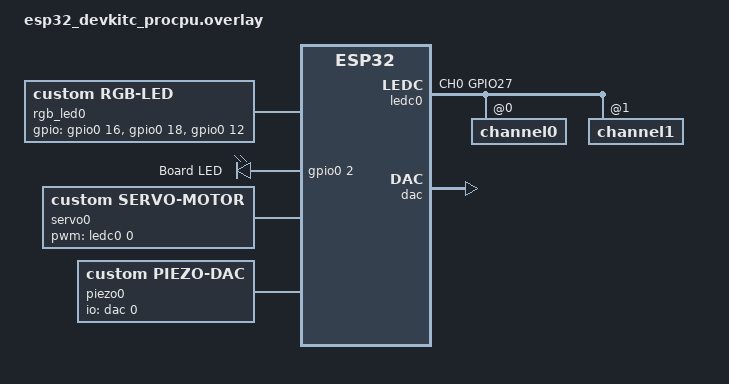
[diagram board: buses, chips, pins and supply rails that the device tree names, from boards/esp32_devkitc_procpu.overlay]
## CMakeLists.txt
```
cmake_minimum_required(VERSION 3.20.0)

list(APPEND ZEPHYR_EXTRA_MODULES ${CMAKE_CURRENT_SOURCE_DIR}/modules/custom_rgb)
list(APPEND ZEPHYR_EXTRA_MODULES ${CMAKE_CURRENT_SOURCE_DIR}/modules/servo_motor)
list(APPEND ZEPHYR_EXTRA_MODULES ${CMAKE_CURRENT_SOURCE_DIR}/modules/custom_piezo)
list(APPEND ZEPHYR_EXTRA_MODULES ${CMAKE_CURRENT_SOURCE_DIR}/modules/custom_usart)

find_package(Zephyr REQUIRED HINTS $ENV{ZEPHYR_BASE})
project(my_app)

target_sources(app PRIVATE
    src/main.c
    src/system_zero.c
    src/system_one.c
    src/system_two.c
    src/system_three.c
    src/system_four.c
    src/parser.c
)
```

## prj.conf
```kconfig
CONFIG_GPIO=y
# Custom servo driver
CONFIG_SERVO_MOTOR=y
CONFIG_CUSTOM_PIEZO=y
CONFIG_CUSTOM_USART=y
# Espressif PWM Driver
CONFIG_CONSOLE_SUBSYS=y
CONFIG_CONSOLE_GETLINE=y
```

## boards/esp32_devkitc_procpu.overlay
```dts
/ {
    aliases {
        led0 = &blink_led;
        system-piezo = &piezo0; 
    };

    /* Instantiate custom RGB Drivers */
    rgb_led0: rgb-led-0 {
        compatible = "custom,rgb-led";
        gpios = <&gpio0 16 GPIO_ACTIVE_HIGH>,  /* Red LED Pin */
                <&gpio0 18 GPIO_ACTIVE_HIGH>,  /* Green LED Pin */
                <&gpio0 12 GPIO_ACTIVE_HIGH>;  /* Blue LED Pin */
    };

    leds {
        compatible = "gpio-leds";
        blink_led: led_0 {
            gpios = <&gpio0 2 GPIO_ACTIVE_HIGH>;
            label = "Board LED";
        };
    };

    /* Instantiate custom servo drivers */
    servo0: servo_motor {
        compatible = "custom,servo-motor";
        pwms = <&ledc0 0 PWM_HZ(50) PWM_POLARITY_NORMAL>;
        min-pulse-us = <500>;
        max-pulse-us = <2500>;
        status = "okay";
    };

    piezo0: piezo {
        compatible = "custom,piezo-dac";
        status = "okay";
        io-channels = <&dac 0>;
    };

    usart0: system-four-usart {
        compatible = "custom,usart";
        status = "okay";
        uart = <&uart0>;
    };
};

/* Enable ESP32 hardware controller ledc0 */
&ledc0 {        
    pinctrl-0 = <&ledc0_default>;
    pinctrl-names = "default"; 
    status = "okay"; 
    #address-cells = <1>;
    #size-cells = <0>;

    channel0@0 {
        reg = <0>;
        timer = <0>;
    };

    channel1@1 {
        reg = <1>;
        timer = <1>;
    };
};

/* Pin control mapping (Assign GPIO pin for servo PWM output) */
&pinctrl {
    ledc0_default: ledc0_default {
        group1 {
            pinmux = <LEDC_CH0_GPIO27>;
        };
    };
};

/* Enable ESP32 DAC channel 0 on GPIO25 for the piezo output. */
&dac {
    status = "okay";
};
```

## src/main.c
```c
#include <zephyr/kernel.h>
#include <zephyr/drivers/gpio.h>
#include "app_queues.h"
#include "parser.h"
#include "system_zero.h"
#include "system_one.h"
#include "system_two.h"
#include "system_three.h"
#include "system_four.h"

#define STACK_SIZE 1024
#define THREAD_PRIORITY 7

#define SERIAL_QUEUE_DEPTH 8

K_MSGQ_DEFINE(rgb_msgq, sizeof(struct rgb_cmd), 10, 4);
K_MSGQ_DEFINE(servo_msgq, sizeof(struct servo_cmd), 10, 4);
K_MSGQ_DEFINE(piezo_msgq, sizeof(struct piezo_cmd), 10, 4);
K_MSGQ_DEFINE(serial_msgq, sizeof(struct serial_msg), SERIAL_QUEUE_DEPTH, 4);

K_THREAD_DEFINE(parser_tid, STACK_SIZE, parser_thread_entry, NULL, NULL, NULL, THREAD_PRIORITY, 0, 0);
K_THREAD_DEFINE(sys0_tid, STACK_SIZE, system_zero_entry, NULL, NULL, NULL, THREAD_PRIORITY, 0, 0);
K_THREAD_DEFINE(sys1_tid, STACK_SIZE, system_one_entry, NULL, NULL, NULL, THREAD_PRIORITY, 0, 0);
K_THREAD_DEFINE(sys2_tid, STACK_SIZE, system_two_entry, NULL, NULL, NULL, THREAD_PRIORITY, 0, 0);
K_THREAD_DEFINE(sys3_tid, STACK_SIZE, system_three_entry, NULL, NULL, NULL, THREAD_PRIORITY, 0, 0);
K_THREAD_DEFINE(sys4_tid, STACK_SIZE, system_four_entry, NULL, NULL, NULL, THREAD_PRIORITY, 0, 0);

int main(void){
    printk("\n========================\n");
    printk("System startup complete.\n"); 
    printk("========================\n");
    return 0;
}
```

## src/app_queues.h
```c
#ifndef APP_QUEUES_H_
#define APP_QUEUES_H_

#include <zephyr/kernel.h>

struct rgb_cmd {
    uint8_t red;
    uint8_t green;
    uint8_t blue;
};

struct servo_cmd {
    uint16_t angle;
};

struct piezo_cmd {
    uint32_t duration_seconds;
};

#define SERIAL_MESSAGE_SIZE 128

struct serial_msg {
    char data[SERIAL_MESSAGE_SIZE];
};

extern struct k_msgq serial_msgq;
extern struct k_msgq rgb_msgq;
extern struct k_msgq servo_msgq;
extern struct k_msgq piezo_msgq;

#endif /* APP_QUEUES_H_ */
```

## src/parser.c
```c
#include <zephyr/kernel.h>
#include <zephyr/sys/printk.h>
#include <stdlib.h>
#include <string.h>
#include <ctype.h>
#include <errno.h>
#include "app_queues.h"
#include "parser.h"

static void trim_trailing(char* str){
    size_t len = strlen(str);
    while (len > 0 && (str[len - 1] == '\r' || str[len - 1] == '\n' || isspace((unsigned char)str[len - 1]))) {
        str[--len] = '\0';
    }
}

void parser_thread_entry(void *p1, void *p2, void *p3){
    ARG_UNUSED(p1);
    ARG_UNUSED(p2);
    ARG_UNUSED(p3);

    printk("[Parser] Parser thread started.\n");

    while(1){
        struct serial_msg message;
        if (k_msgq_get(&serial_msgq, &message, K_FOREVER) != 0) {
            continue;
        }

        char *line = message.data;

        trim_trailing(line);

        if(line[0] == '#' || strlen(line) == 6){    // #XXYYZZ or XXYYZZ format
            char *hex_str = (line[0] == '#') ? line + 1 : line; // skip # if its there

            if(strlen(hex_str) != 6){
                printk("[Parser] Invalid RGB command length: %s\n", line);
                continue;
            }

            unsigned int r, g, b; 
            if(sscanf(hex_str, "%02x%02x%02x", &r, &g, &b) == 3){
                struct rgb_cmd cmd = {
                    .red   =  (uint8_t ) r, 
                    .green =  (uint8_t ) g,
                    .blue  =  (uint8_t ) b
                };

                if(k_msgq_put(&rgb_msgq, &cmd, K_NO_WAIT) != 0){
                    printk("[Parser] Warning: RGB Queue full, dropping command \n"); 
                }
                else{
                    printk("[Parser] RGB command queued: R=%02X G=%02X B=%02X\n", cmd.red, cmd.green, cmd.blue);
                }
            }
            else{
                printk("[Parser] Invalid RGB command format: %s\n", line);
            }
        }
        else{
            char *end;
            errno = 0;
            long angle = strtol(line, &end, 10);

            if (line[0] != '\0' && errno == 0 && angle > 0 &&
                *end == 's' && end[1] == '\0') {
                struct piezo_cmd cmd = {
                    .duration_seconds = (uint32_t)angle
                };

                if (k_msgq_put(&piezo_msgq, &cmd, K_NO_WAIT) != 0) {
                    printk("[Parser] Warning: Piezo queue full, dropping command\n");
                } else {
                    printk("[Parser] Piezo command queued: duration=%u seconds\n",
                           cmd.duration_seconds);
                }
                continue;
            }

            while (isspace((unsigned char)*end)) {
                end++;
            }

            if (line[0] != '\0' && *end == 'a' && end[1] == '\0' && errno == 0 &&
                angle >= 0 && angle <= 180) {
                struct servo_cmd cmd = {.angle = (uint16_t)angle};

                if (k_msgq_put(&servo_msgq, &cmd, K_NO_WAIT) != 0) {
                    printk("[Parser] Warning: Servo queue full, dropping command\n");
                } else {
                    printk("[Parser] Servo command queued: angle=%u\n", cmd.angle);
                }
            } else {
                printk("[Parser] Invalid or unrecognized command: %s\n", line);
            }
        }
    }
}
```

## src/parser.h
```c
#ifndef PARSER_THREAD_H_
#define PARSER_THREAD_H_

void parser_thread_entry(void *p1, void *p2, void *p3);

#endif /* PARSER_THREAD_H_ */
```

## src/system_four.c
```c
#include <zephyr/kernel.h>
#include <zephyr/device.h>
#include <drivers/custom_usart.h>
#include <errno.h>
#include <stdlib.h>
#include "app_queues.h"
#include "system_four.h"

#define USART_NODE DT_NODELABEL(usart0)

static const struct device *const serial_usart = DEVICE_DT_GET(USART_NODE);

static bool is_system_four_value(const char *line)
{
    char *end;
    unsigned long value;

    if (*line == '\0') {
        return false;
    }

    for (const char *character = line; *character != '\0'; character++) {
        if (*character < '0' || *character > '9') {
            return false;
        }
    }

    errno = 0;
    value = strtoul(line, &end, 10);
    return errno == 0 && *end == '\0' && value <= 255;
}

void system_four_entry(void *p1, void *p2, void *p3) {
    ARG_UNUSED(p1);
    ARG_UNUSED(p2);
    ARG_UNUSED(p3);

    if (!device_is_ready(serial_usart)) {
        printk("[System Four] Custom USART is not ready.\n");
        return;
    }

    printk("[System Four] Serial receiver started.\n");

    struct serial_msg message = {0};
    size_t length = 0;

    while (1) {
        uint8_t byte;

        if (custom_usart_poll_in(serial_usart, &byte) != 0) {
            k_msleep(1);
            continue;
        }

        if (byte == '\r' || byte == '\n') {
            if (length == 0) {
                continue;
            }

            message.data[length] = '\0';
            if (is_system_four_value(message.data)) {
                printk("[System Four] Captured value: %s\n", message.data);
            } else if (k_msgq_put(&serial_msgq, &message, K_NO_WAIT) != 0) {
                printk("[System Four] Serial message queue full; dropping message.\n");
            }

            length = 0;
            message.data[0] = '\0';
        } else if (length < SERIAL_MESSAGE_SIZE - 1) {
            message.data[length++] = (char)byte;
        } else {
            length = 0;
            message.data[0] = '\0';
            printk("[System Four] Serial message too long; dropping message.\n");
        }
    }
}
```

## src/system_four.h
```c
#ifndef SYSTEM_FOUR_H
#define SYSTEM_FOUR_H_

void system_four_entry(void *p1, void *p2, void *p3);

#endif /* SYSTEM_FOUR_H_ */
```

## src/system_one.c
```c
#include <zephyr/kernel.h>
#include <zephyr/sys/printk.h>
#include <zephyr/sys/util.h>
#include <drivers/rgb_led.h>    // custom rgb led driver api
#include "app_queues.h"
#include "system_one.h"

#define RGB_LED_NODE DT_NODELABEL(rgb_led0)

static const struct device *const rgb_led = DEVICE_DT_GET(RGB_LED_NODE);

void system_one_entry(void *p1, void *p2, void *p3) {
    ARG_UNUSED(p1);
    ARG_UNUSED(p2);
    ARG_UNUSED(p3);

    printk("[System One] System One thread started with custom rgb_led driver.\n");

    if (!device_is_ready(rgb_led)) {
        printk("[System One] RGB LED device not ready.\n");
        return;
    }

    struct rgb_cmd cmd;

    // turn all the leds off initially with the new cmd
    rgb_led_set_color(rgb_led, 0, 0, 0);

    while (1) {
        // read from the RGB message queue
        if (k_msgq_get(&rgb_msgq, &cmd, K_NO_WAIT) == 0) {
            printk("[System One] Received RGB command: R=%02X G=%02X B=%02X\n", cmd.red, cmd.green, cmd.blue);

            // driver function handles the on/off based on the hex values
            // so this code just passes them directly
            rgb_led_set_color(rgb_led, cmd.red, cmd.green, cmd.blue);
        }
    }
}
```

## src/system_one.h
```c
#ifndef SYSTEM_ONE_H_
#define SYSTEM_ONE_H_

void system_one_entry(void *p1, void *p2, void *p3);

#endif /* SYSTEM_ONE_H_ */
```

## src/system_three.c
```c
#include <zephyr/kernel.h>
#include <zephyr/device.h>
#include <drivers/custom_piezo.h>
#include "app_queues.h"
#include "system_three.h"

static const struct device *const piezo_dev = DEVICE_DT_GET(DT_ALIAS(system_piezo));

void system_three_entry(void *p1, void *p2, void *p3)
{
	ARG_UNUSED(p1);
	ARG_UNUSED(p2);
	ARG_UNUSED(p3);

	if (!device_is_ready(piezo_dev)) {
		printk("[System Three] Error: Piezo device is not ready\n");
		return;
	}

	printk("[System Three] Startup complete with custom piezo DAC driver.\n");
	struct piezo_cmd cmd;

	while (1) {
		if (k_msgq_get(&piezo_msgq, &cmd, K_FOREVER) == 0) {
			printk("[System Three] Playing 440Hz tone for %u seconds...\n",
			       cmd.duration_seconds);
			custom_piezo_play(piezo_dev, 440, cmd.duration_seconds * 1000U);
		}
	}
}
```

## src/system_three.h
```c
#ifndef SYSTEM_THREE_H_
#define SYSTEM_THREE_H_

void system_three_entry(void *p1, void *p2, void *p3);

#endif /* SYSTEM_THREE_H_ */
```

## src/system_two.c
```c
#include <zephyr/kernel.h>
#include <zephyr/device.h>
#include <zephyr/sys/printk.h>
#include <drivers/servo_motor.h>
#include "app_queues.h"
#include "system_two.h"

#define SERVO_NODE DT_NODELABEL(servo0)

static const struct device *const servo = DEVICE_DT_GET(SERVO_NODE);

void system_two_entry(void *p1, void *p2, void *p3)
{
    ARG_UNUSED(p1);
    ARG_UNUSED(p2);
    ARG_UNUSED(p3);

    printk("[System Two] System Two thread started with custom servo driver.\n");

    if (!device_is_ready(servo)) {
        printk("[System Two] WARN: Servo device is not ready.\n");
        return;
    }

    struct servo_cmd cmd;

    while (1) {
        if (k_msgq_get(&servo_msgq, &cmd, K_FOREVER) == 0) {
            int ret = servo_set_angle(servo, cmd.angle);

            if (ret < 0) {
                printk("[System Two] Failed to set servo angle %u: %d\n",
                       cmd.angle, ret);
            } else {
                printk("[System Two] Servo angle set to %u\n", cmd.angle);
            }
        }
    }
}
```

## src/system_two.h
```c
#ifndef SYSTEM_TWO_H_
#define SYSTEM_TWO_H_

void system_two_entry(void *p1, void *p2, void *p3);

#endif /* SYSTEM_TWO_H_ */
```

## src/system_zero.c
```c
#include <zephyr/kernel.h>
#include <zephyr/drivers/gpio.h>
#include "system_zero.h"

#define LED0_NODE DT_ALIAS(led0)
static const struct gpio_dt_spec led0 = GPIO_DT_SPEC_GET(LED0_NODE, gpios);

void system_zero_entry(void *p1, void *p2, void *p3) {
    ARG_UNUSED(p1);
    ARG_UNUSED(p2);
    ARG_UNUSED(p3);

    if(!gpio_is_ready_dt(&led0)) return;

    int ret = gpio_pin_configure_dt(&led0, GPIO_OUTPUT_ACTIVE); // equiv to pinMode(LED_PIN, OUTPUT);
    if(ret < 0) return;

    while(1){
        gpio_pin_toggle_dt(&led0); // equiv to digitalWrite(LED_PIN, !digitalRead(LED_PIN));
        k_msleep(250);
    }
}
```
